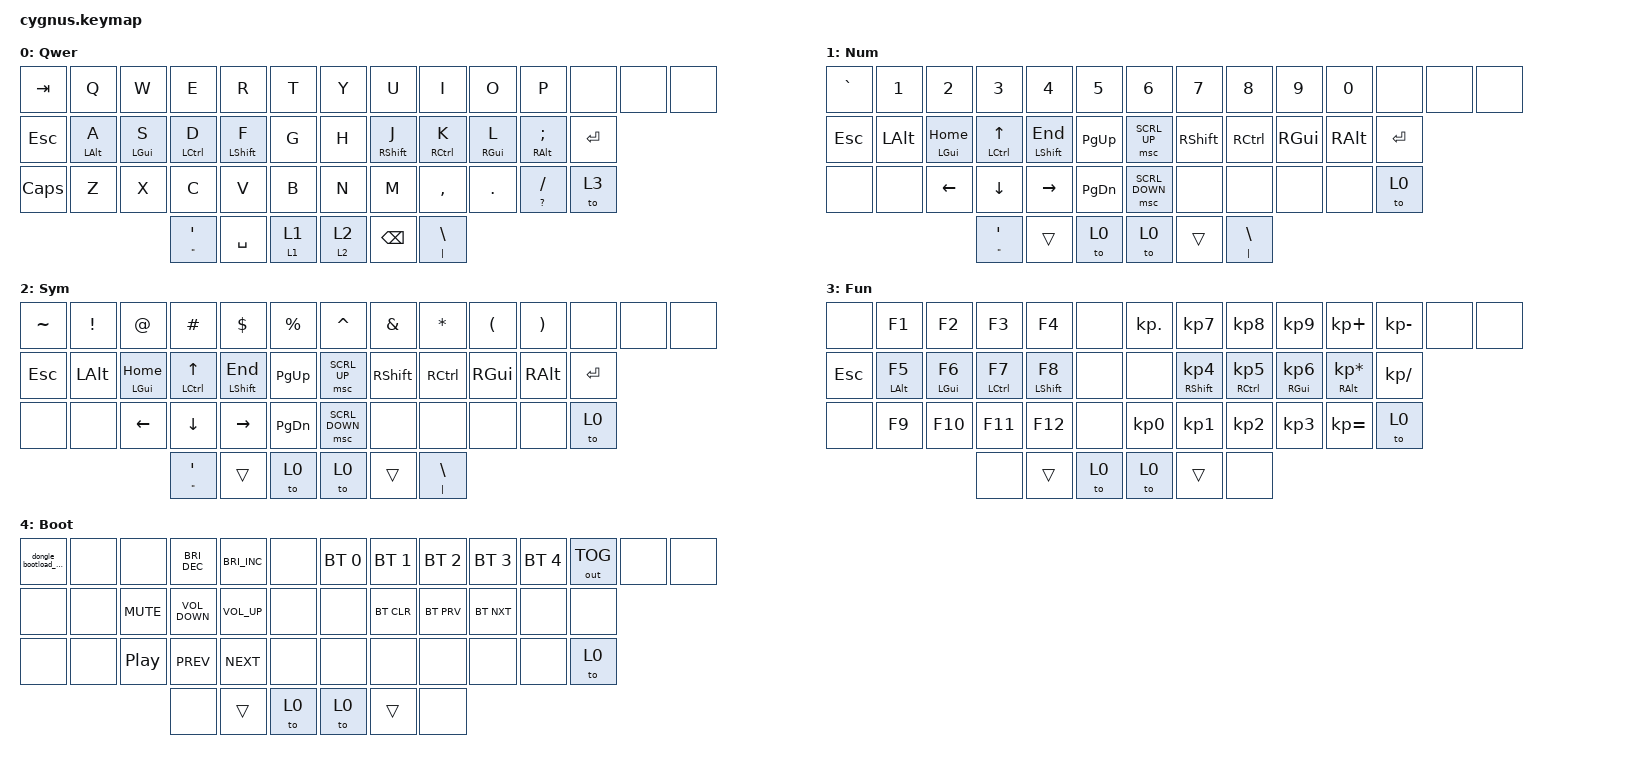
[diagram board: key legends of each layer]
/*
 * Copyright (c) 2020 The ZMK Contributors
 *
 * SPDX-License-Identifier: MIT
 */

#define ZMK_POINTING_DEFAULT_MOVE_VAL 1200  // 600
#define ZMK_POINTING_DEFAULT_SCRL_VAL 35    // 10

#include <input/processors.dtsi>
#include <zephyr/dt-bindings/input/input-event-codes.h>
#include <behaviors.dtsi>
#include <dt-bindings/zmk/bt.h>
#include <dt-bindings/zmk/keys.h>
#include <dt-bindings/zmk/outputs.h>
#include <dt-bindings/zmk/pointing.h>

#define SCROLLER 1
#define MOUSE 4

/ {
    zip_scroll_scaler: zip_scroll_scaler {
        compatible = "zmk,input-processor-scaler";
        #input-processor-cells = <2>;
        type = <INPUT_EV_REL>;
        codes = <INPUT_REL_WHEEL INPUT_REL_HWHEEL>;
        track-remainders;
    };
};

&mmv_input_listener { input-processors = <&zip_xy_scaler 2 1>; };

&msc_input_listener { input-processors = <&zip_scroll_scaler 2 1>; };

&msc {
    acceleration-exponent = <0>;      // 0
    time-to-max-speed-ms = <100>;       // 300
    delay-ms = <0>;                   // 0
};

&mmv {
    time-to-max-speed-ms = <400>;
    acceleration-exponent = <1>;
};

/ {
    macros {
        dongle_bootload_macro: bootload_macro {
            compatible = "zmk,behavior-macro";
            #binding-cells = <0>;
            bindings = <&bootloader>;
            label = "BOOTLOAD_MACRO";
        };
    };

    combos {
        compatible = "zmk,combos";

        left_bracket {
            bindings = <&kp LEFT_BRACKET>;
            key-positions = <28 29>;
            timeout-ms = <42>;
            require-prior-idle-ms = <150>;
            layers = <0 1 2>;
        };

        right_bracket {
            bindings = <&kp RIGHT_BRACKET>;
            key-positions = <34 35>;
            timeout-ms = <42>;
            require-prior-idle-ms = <150>;
            layers = <0 1 2>;
        };

        left_parenthesis {
            bindings = <&kp LEFT_PARENTHESIS>;
            key-positions = <29 30>;
            timeout-ms = <42>;
            require-prior-idle-ms = <150>;
            layers = <0 1 2>;
        };

        right_parenthesis {
            bindings = <&kp RIGHT_PARENTHESIS>;
            key-positions = <34 33>;
            timeout-ms = <42>;
            require-prior-idle-ms = <150>;
            layers = <0 1 2>;
        };

        minus {
            bindings = <&kp MINUS>;
            key-positions = <30 31>;
            timeout-ms = <42>;
            require-prior-idle-ms = <150>;
            layers = <0 1 2>;
        };

        equal {
            bindings = <&kp EQUAL>;
            key-positions = <33 32>;
            timeout-ms = <42>;
            require-prior-idle-ms = <150>;
            layers = <0 1 2>;
        };

        to_flash {
            bindings = <&to 4>;
            key-positions = <38 43>;
            timeout-ms = <42>;
            require-prior-idle-ms = <150>;
            layers = <0 1 2>;
        };

        left_brace {
            bindings = <&kp LEFT_BRACE>;
            key-positions = <16 17>;
            timeout-ms = <42>;
            require-prior-idle-ms = <150>;
            layers = <0 1 2>;
        };

        right_brace {
            bindings = <&kp RIGHT_BRACE>;
            key-positions = <22 23>;
            timeout-ms = <42>;
            require-prior-idle-ms = <150>;
            layers = <0 1 2>;
        };

        underscore {
            bindings = <&kp UNDERSCORE>;
            key-positions = <18 19>;
            timeout-ms = <42>;
            require-prior-idle-ms = <150>;
            layers = <0 1 2>;
        };

        plus {
            bindings = <&kp PLUS>;
            key-positions = <21 20>;
            timeout-ms = <42>;
            require-prior-idle-ms = <150>;
            layers = <0 1 2>;
        };

        less_than {
            bindings = <&kp LESS_THAN>;
            key-positions = <17 18>;
            timeout-ms = <42>;
            require-prior-idle-ms = <150>;
            layers = <0 1 2>;
        };

        greater_than {
            bindings = <&kp GREATER_THAN>;
            key-positions = <21 22>;
            timeout-ms = <42>;
            require-prior-idle-ms = <150>;
            layers = <0 1 2>;
        };
    };

    behaviors {
        as: auto_shift {
            compatible = "zmk,behavior-hold-tap";
            label = "AUTO_SHIFT";
            bindings = <&kp>, <&kp>;

            #binding-cells = <2>;
            tapping-term-ms = <250>;
            quick-tap-ms = <175>;
            flavor = "tap-preferred";
            require-prior-idle-ms = <150>;
        };

        hml: homerow_mods_left {
            compatible = "zmk,behavior-hold-tap";
            label = "HOMEROW_MODS_LEFT";
            bindings = <&kp>, <&kp>;

            #binding-cells = <2>;
            tapping-term-ms = <250>;
            quick-tap-ms = <175>;
            require-prior-idle-ms = <115>;
            flavor = "balanced";
            hold-trigger-key-positions = <21 22 23 24 20 25 11 10 9 8 7 6 32 33 35 34 36 37>;
            hold-trigger-on-release;
        };

        hmr: homerow_mods_right {
            compatible = "zmk,behavior-hold-tap";
            label = "HOMEROW_MODS_RIGHT";
            bindings = <&kp>, <&kp>;

            #binding-cells = <2>;
            tapping-term-ms = <250>;
            quick-tap-ms = <175>;
            require-prior-idle-ms = <115>;
            flavor = "balanced";
            hold-trigger-key-positions = <15 16 17 18 0 1 2 3 4 5 19 31 30 29 28 27 26 14>;
            hold-trigger-on-release;
        };

        htmo: holdtap_mo {
            compatible = "zmk,behavior-hold-tap";
            label = "HOLDTAP_MO";
            bindings = <&mo>, <&to>;

            #binding-cells = <2>;
            tapping-term-ms = <200>;
            quick-tap-ms = <150>;
            require-prior-idle-ms = <115>;
        };
    };

    keymap {
        compatible = "zmk,keymap";

        Qwer {
            bindings = <
&kp TAB       &kp Q            &kp W            &kp E                           &kp R              &kp T      &kp Y      &kp U               &kp I                 &kp O             &kp P                &none      &none  &none
&kp ESC       &hml LEFT_ALT A  &hml LEFT_GUI S  &hml LEFT_CONTROL D             &hml LEFT_SHIFT F  &kp G      &kp H      &hmr RIGHT_SHIFT J  &hmr RIGHT_CONTROL K  &hmr RIGHT_GUI L  &hmr RIGHT_ALT SEMI  &kp ENTER
&kp CAPSLOCK  &kp Z            &kp X            &kp C                           &kp V              &kp B      &kp N      &kp M               &kp COMMA             &kp DOT           &as QUESTION SLASH   &to 3
                                                &as DOUBLE_QUOTES SINGLE_QUOTE  &kp SPACE          &htmo 1 1  &htmo 2 2  &kp BACKSPACE       &as PIPE BACKSLASH
            >;

            label = "Qwer";
        };

        Num {
            bindings = <
&kp GRAVE  &kp NUMBER_1  &kp NUMBER_2        &kp NUMBER_3                    &kp NUMBER_4         &kp NUMBER_5   &kp NUMBER_6    &kp NUMBER_7     &kp NUMBER_8        &kp NUMBER_9   &kp NUMBER_0   &none      &none  &none
&kp ESC    &kp LEFT_ALT  &hml LEFT_GUI HOME  &hml LEFT_CONTROL UP_ARROW      &hml LEFT_SHIFT END  &kp PAGE_UP    &msc SCRL_UP    &kp RIGHT_SHIFT  &kp RIGHT_CONTROL   &kp RIGHT_GUI  &kp RIGHT_ALT  &kp ENTER
&none      &none         &kp LEFT_ARROW      &kp DOWN_ARROW                  &kp RIGHT_ARROW      &kp PAGE_DOWN  &msc SCRL_DOWN  &none            &none               &none          &none          &to 0
                                             &as DOUBLE_QUOTES SINGLE_QUOTE  &trans               &to 0          &to 0           &trans           &as PIPE BACKSLASH
            >;

            label = "Num";
        };

        Sym {
            bindings = <
&kp TILDE  &kp EXCLAMATION  &kp AT_SIGN         &kp HASH                        &kp DOLLAR           &kp PERCENT    &kp CARET       &kp AMPERSAND    &kp STAR            &kp LEFT_PARENTHESIS  &kp RIGHT_PARENTHESIS  &none      &none  &none
&kp ESC    &kp LEFT_ALT     &hml LEFT_GUI HOME  &hml LEFT_CONTROL UP_ARROW      &hml LEFT_SHIFT END  &kp PAGE_UP    &msc SCRL_UP    &kp RIGHT_SHIFT  &kp RIGHT_CONTROL   &kp RIGHT_GUI         &kp RIGHT_ALT          &kp ENTER
&none      &none            &kp LEFT_ARROW      &kp DOWN_ARROW                  &kp RIGHT_ARROW      &kp PAGE_DOWN  &msc SCRL_DOWN  &none            &none               &none                 &none                  &to 0
                                                &as DOUBLE_QUOTES SINGLE_QUOTE  &trans               &to 0          &to 0           &trans           &as PIPE BACKSLASH
            >;

            label = "Sym";
        };

        Fun {
            bindings = <
&none    &kp F1            &kp F2            &kp F3                &kp F4              &none  &kp KP_DOT       &kp KP_N7               &kp KP_N8                 &kp KP_N9             &kp KP_PLUS                 &kp KP_MINUS   &none  &none
&kp ESC  &hml LEFT_ALT F5  &hml LEFT_GUI F6  &hml LEFT_CONTROL F7  &hml LEFT_SHIFT F8  &none  &none            &hmr RIGHT_SHIFT KP_N4  &hmr RIGHT_CONTROL KP_N5  &hmr RIGHT_GUI KP_N6  &hmr RIGHT_ALT KP_MULTIPLY  &kp KP_DIVIDE
&none    &kp F9            &kp F10           &kp F11               &kp F12             &none  &kp KP_NUMBER_0  &kp KP_N1               &kp KP_N2                 &kp KP_N3             &kp KP_EQUAL                &to 0
                                             &none                 &trans              &to 0  &to 0            &trans                  &none
            >;

            label = "Fun";
        };

        Boot {
            bindings = <
&dongle_bootload_macro  &none  &none             &kp C_BRIGHTNESS_DEC  &kp C_BRIGHTNESS_INC  &none  &bt BT_SEL 0  &bt BT_SEL 1  &bt BT_SEL 2  &bt BT_SEL 3  &bt BT_SEL 4  &out OUT_TOG  &none  &none
&none                   &none  &kp C_MUTE        &kp C_VOLUME_DOWN     &kp C_VOLUME_UP       &none  &none         &bt BT_CLR    &bt BT_PRV    &bt BT_NXT    &none         &none
&none                   &none  &kp C_PLAY_PAUSE  &kp C_PREV            &kp C_NEXT            &none  &none         &none         &none         &none         &none         &to 0
                                                 &none                 &trans                &to 0  &to 0         &trans        &none
            >;

            label = "Boot";
        };
    };

    conditional_layers { compatible = "zmk,conditional-layers"; };
};
